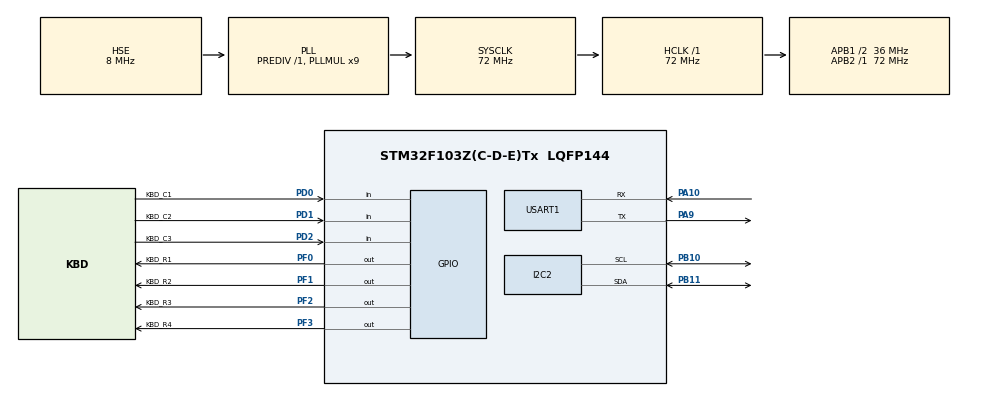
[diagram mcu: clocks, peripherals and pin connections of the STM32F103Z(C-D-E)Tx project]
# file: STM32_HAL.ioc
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Mcu.Family=STM32F1
Mcu.Name=STM32F103Z(C-D-E)Tx
Mcu.Package=LQFP144
NVIC.PriorityGroup=NVIC_PRIORITYGROUP_4
NVIC.USART1_IRQn=true\:0\:0\:false\:false\:true\:true\:true\:true
OSC_IN.Mode=HSE-External-Oscillator
OSC_IN.Signal=RCC_OSC_IN
OSC_OUT.Mode=HSE-External-Oscillator
OSC_OUT.Signal=RCC_OSC_OUT
PA10.Mode=Asynchronous
PA10.Signal=USART1_RX
PA13.Mode=Serial_Wire
PA13.Signal=SYS_JTMS-SWDIO
PA14.Mode=Serial_Wire
PA14.Signal=SYS_JTCK-SWCLK
PA9.Mode=Asynchronous
PA9.Signal=USART1_TX
PB10.Mode=I2C
PB10.Signal=I2C2_SCL
PB11.Mode=I2C
PB11.Signal=I2C2_SDA
PD0.GPIO_Label=KBD_C1
PD0.GPIO_PuPd=GPIO_PULLUP
PD0.Signal=GPIO_Input
PD1.GPIO_Label=KBD_C2
PD1.GPIO_PuPd=GPIO_PULLUP
PD1.Signal=GPIO_Input
PD2.GPIO_Label=KBD_C3
PD2.GPIO_PuPd=GPIO_PULLUP
PD2.Signal=GPIO_Input
PF0.GPIO_Label=KBD_R1
PF0.PinState=GPIO_PIN_SET
PF0.Signal=GPIO_Output
PF1.GPIO_Label=KBD_R2
PF1.PinState=GPIO_PIN_SET
PF1.Signal=GPIO_Output
PF2.GPIO_Label=KBD_R3
PF2.PinState=GPIO_PIN_SET
PF2.Signal=GPIO_Output
PF3.GPIO_Label=KBD_R4
PF3.PinState=GPIO_PIN_SET
PF3.Signal=GPIO_Output
ProjectManager.HeapSize=0x200
ProjectManager.StackSize=0x400
ProjectManager.TargetToolchain=CMake
RCC.AHBFreq_Value=72000000
RCC.APB1CLKDivider=RCC_HCLK_DIV2
RCC.APB1Freq_Value=36000000
RCC.APB1TimFreq_Value=72000000
RCC.APB2Freq_Value=72000000
RCC.APB2TimFreq_Value=72000000
RCC.HCLKFreq_Value=72000000
RCC.PLLMUL=RCC_PLL_MUL9
RCC.PLLSourceVirtual=RCC_PLLSOURCE_HSE
RCC.SYSCLKFreq_VALUE=72000000
RCC.SYSCLKSource=RCC_SYSCLKSOURCE_PLLCLK
RCC.USBFreq_Value=72000000
TIM6.Prescaler=72-1
USART1.VirtualMode=VM_ASYNC
VP_TIM6_VS_ClockSourceINT.Mode=Enable_Timer
board=custom

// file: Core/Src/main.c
/* USER CODE BEGIN Header */
/**
  ******************************************************************************
  * @file           : main.c
  * @brief          : Main program body
  ******************************************************************************
  * @attention
  *
  * Copyright (c) 2024 STMicroelectronics.
  * All rights reserved.
  *
  * This software is licensed under terms that can be found in the LICENSE file
  * in the root directory of this software component.
  * If no LICENSE file comes with this software, it is provided AS-IS.
  *
  ******************************************************************************
  */
/* USER CODE END Header */
#include "main.h"
#include "i2c.h"
#include "tim.h"
#include "usart.h"
#include "gpio.h"

/* USER CODE BEGIN Includes */

#include <stdio.h>
#include "lcd1602.h"
#include "keyboard.h"

/* USER CODE END Includes */

/* USER CODE BEGIN PV */
extern UART_HandleTypeDef huart1;
int lastKey = -1;

/* USER CODE END PV */

void SystemClock_Config(void);

int main(void)
{

  /* MCU Configuration--------------------------------------------------------*/

  /* Reset of all peripherals, Initializes the Flash interface and the Systick. */
  HAL_Init();

  /* Configure the system clock */
  SystemClock_Config();

  /* Initialize all configured peripherals */
  MX_GPIO_Init();
  MX_USART1_UART_Init();
  MX_TIM6_Init();
  MX_I2C2_Init();
  /* USER CODE BEGIN 2 */

  // start TIM6 for i2c delay
  HAL_TIM_Base_Start(&htim6);
  // LCD_Init();
  // LCD_ShowString("Hello 1602!");
  KBD_Init();

  // LCD_BackLightOff();
  // HAL_Delay(3000);
  // LCD_BackLightOn();

  /* USER CODE END 2 */

  /* Infinite loop */
  /* USER CODE BEGIN WHILE */
  __HAL_RCC_GPIOB_CLK_ENABLE();

  while (1)
  {
    /* USER CODE END WHILE */

    /* USER CODE BEGIN 3 */
    int lastKey = KBD_Scan();
    if (lastKey != -1) {
      printf("last key: [%d]\r\n", lastKey);
      HAL_Delay(100);
    }

  }
  /* USER CODE END 3 */
}

void SystemClock_Config(void)
{
  RCC_OscInitTypeDef RCC_OscInitStruct = {0};
  RCC_ClkInitTypeDef RCC_ClkInitStruct = {0};

  /** Initializes the RCC Oscillators according to the specified parameters
  * in the RCC_OscInitTypeDef structure.
  */
  RCC_OscInitStruct.OscillatorType = RCC_OSCILLATORTYPE_HSE;
  RCC_OscInitStruct.HSEState = RCC_HSE_ON;
  RCC_OscInitStruct.HSEPredivValue = RCC_HSE_PREDIV_DIV1;
  RCC_OscInitStruct.HSIState = RCC_HSI_ON;
  RCC_OscInitStruct.PLL.PLLState = RCC_PLL_ON;
  RCC_OscInitStruct.PLL.PLLSource = RCC_PLLSOURCE_HSE;
  RCC_OscInitStruct.PLL.PLLMUL = RCC_PLL_MUL9;
  if (HAL_RCC_OscConfig(&RCC_OscInitStruct) != HAL_OK)
  {
    Error_Handler();
  }

  /** Initializes the CPU, AHB and APB buses clocks
  */
  RCC_ClkInitStruct.ClockType = RCC_CLOCKTYPE_HCLK|RCC_CLOCKTYPE_SYSCLK
                              |RCC_CLOCKTYPE_PCLK1|RCC_CLOCKTYPE_PCLK2;
  RCC_ClkInitStruct.SYSCLKSource = RCC_SYSCLKSOURCE_PLLCLK;
  RCC_ClkInitStruct.AHBCLKDivider = RCC_SYSCLK_DIV1;
  RCC_ClkInitStruct.APB1CLKDivider = RCC_HCLK_DIV2;
  RCC_ClkInitStruct.APB2CLKDivider = RCC_HCLK_DIV1;

  if (HAL_RCC_ClockConfig(&RCC_ClkInitStruct, FLASH_LATENCY_2) != HAL_OK)
  {
    Error_Handler();
  }
}

/* USER CODE BEGIN 4 */
int __io_putchar(int ch)
{
    HAL_UART_Transmit(&huart1, (uint8_t *)&ch, 1, HAL_MAX_DELAY);
    return 0;
}
/* USER CODE END 4 */

void Error_Handler(void)
{
  __disable_irq();
  while (1)
  {
  }
}
